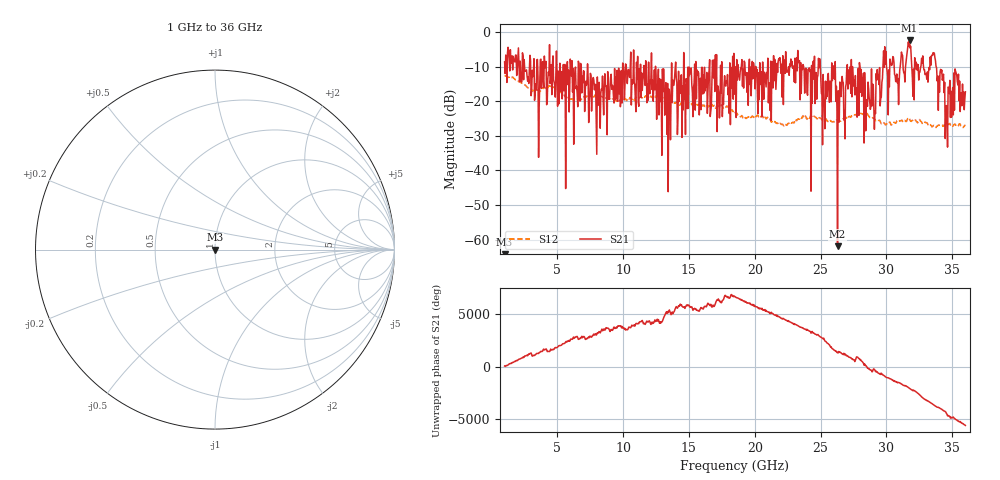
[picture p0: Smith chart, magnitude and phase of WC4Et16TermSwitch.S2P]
!  2-Port S-parameters saved by WinCal
# Hz S RI R 50
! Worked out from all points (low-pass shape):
!   801 points, 1 GHz to 36 GHz, reference 50 ohm
!   highest |S21| = -2.45 dB at 31.76 GHz (marker M1); lowest = -61.9 dB at 26.29 GHz (marker M2)
!   |S21| within 3 dB of the highest: 1.234 GHz to 1.295 GHz (60.59 MHz wide, 4.79 % of centre); 31.59 GHz to 31.86 GHz (266.6 MHz wide, 0.84 % of centre) (the widest 2 of 8)
!   lowest |S11| = - dB at 1 GHz (marker M3), VSWR 1.00, Z = 50 + j0 ohm
!   |S11| at or under -10 dB: start of sweep to end of sweep
!   |S22| runs from - to - dB; largest |S21 - S12| = 0.82
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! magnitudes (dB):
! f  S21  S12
! 1 GHz  -8.7  -12.7
! 6.862 GHz  -17.6  -19.2
! 8.131 GHz  -20.0  -18.6
! 10.41 GHz  -10.8  -19.2
! 12.68 GHz  -10.8  -18.2
! 13.47 GHz  -16.4  -19.2
! 13.86 GHz  -15.4  -20.3
! 18.5 GHz  -13.0  -23.1
! 24.36 GHz  -20.6  -24.3
! 24.84 GHz  -7.6  -24.5
! 25.24 GHz  -20.7  -25.1
! 26.02 GHz  -9.8  -25.9
! 26.29 GHz  -61.9  -25.3
! 27.16 GHz  -14.0  -24.4
! 28.61 GHz  -14.5  -24.1
! 30.18 GHz  -11.0  -26.4
! 31.76 GHz  -2.5  -25.1
! 32.11 GHz  -19.6  -25.3
! 33.59 GHz  -6.5  -27.0
! 34.56 GHz  -21.3  -27.2
! 35.3 GHz  -11.9  -27.2
! 36 GHz  -17.3  -27.1
